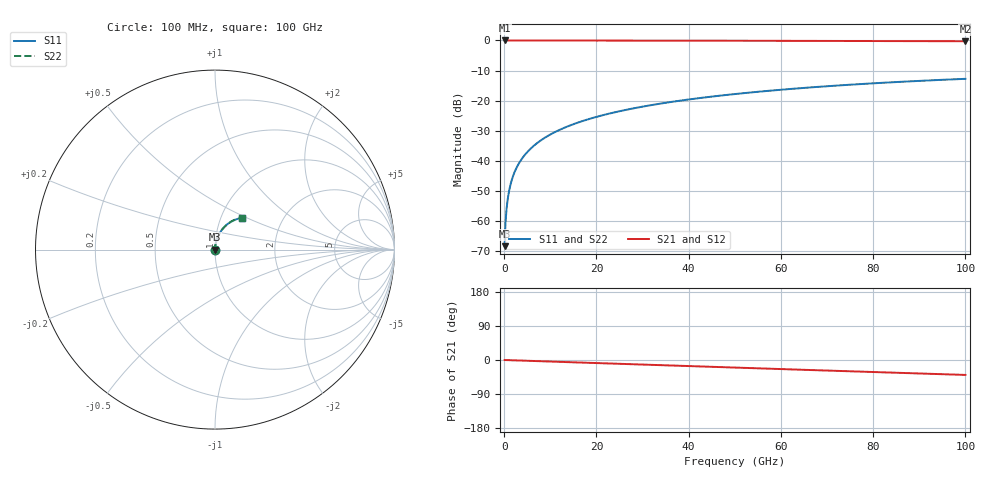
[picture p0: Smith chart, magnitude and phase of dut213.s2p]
! Touchstone file exported from HFSS 2026.1.0
!  File:  C:/ffzhzh/LocalFiles/Ansys_Project_Files/temp_train_TSV_213_1783507674_55944.aedt
!  Generated:  06:49:09 PM Jul  8, 2026
!  Design:  TSV
!  Project:  temp_train_TSV_213_1783507674_55944
! Variables:
!  h_bsmrdl = 2um
!  h_ox = 20um
!  h_rdl = 5um
!  h_sub = 71.6um
!  h_tmrdl = 5um
!  h_tsv = 71.6um
!  h_via = 3um
!  l_bsmrdl = 300um
!  l_sub = 413.3um
!  l_tmrdl = 200um
!  m_sub = 200um
!  pitch = 46.04um
!  r_tsv = 6.65um
!  s_tmrdl = 10um
!  w_bsmrdl = 18um
!  w_sub = 500um
!  w_tmrdl = 12um
!  x_tsv_center1 = 206um
!  x_tsv_center2 = 524um
!  x_tsv_center3 = 736um
!  x_tsv_center4 = 1054um
!  x_tsv_center5 = 1266um
!  x_tsv_center6 = 1584um
# GHz S MA R 50.000000
! Terminal data exported
! Port[1] = TSV1_1_T1
! Port[2] = TSV1_1_T2
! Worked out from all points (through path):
!   1000 points, 100 MHz to 100 GHz, reference 50 ohm
!   highest |S21| = 0.00 dB at 100 MHz (marker M1); lowest = -0.3 dB at 100 GHz (marker M2)
!   group delay of S21, straight-line fit = 1.09 ps
!   lowest |S11| = -68.4 dB at 100 MHz (marker M3), VSWR 1.00, Z = 50 + j0.0309 ohm
!   |S11| at or under -10 dB: start of sweep to end of sweep
!   |S22| runs from -68.4 to -12.8 dB; largest |S21 - S12| = 2.6e-15
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0.1  0.0003788 54.5  0.9998 -0.0  0.9998 -0.0  0.0003788 54.5
! Gamma 0 0 0 0
! Port Impedance 50 0 50 0
0.4  0.001222 77.5  0.9997 -0.2  0.9997 -0.2  0.001222 77.5
0.7  0.002079 81.6  0.9997 -0.3  0.9997 -0.3  0.002079 81.6
0.8  0.002364 82.3  0.9997 -0.3  0.9997 -0.3  0.002364 82.3
1  0.002934 83.2  0.9997 -0.4  0.9997 -0.4  0.002934 83.2
1.3  0.003785 83.9  0.9996 -0.5  0.9996 -0.5  0.003785 83.9
1.7  0.004909 84.4  0.9996 -0.7  0.9996 -0.7  0.004909 84.4
2.3  0.006572 84.7  0.9995 -1.0  0.9995 -1.0  0.006572 84.7
3  0.008485 84.8  0.9994 -1.2  0.9994 -1.2  0.008485 84.8
3.8  0.01065 84.8  0.9993 -1.6  0.9993 -1.6  0.01065 84.8
4.8  0.01334 84.8  0.9992 -2.0  0.9992 -2.0  0.01334 84.8
6  0.01656 84.6  0.999 -2.5  0.999 -2.5  0.01656 84.6
8.8  0.02404 84.0  0.9987 -3.6  0.9987 -3.6  0.02404 84.0
12.4  0.03359 82.9  0.9982 -5.0  0.9982 -5.0  0.03359 82.9
16.8  0.04517 81.4  0.9976 -6.8  0.9976 -6.8  0.04517 81.4
24.2  0.06442 78.7  0.9962 -9.8  0.9962 -9.8  0.06442 78.7
33.4  0.08786 75.3  0.9941 -13.4  0.9941 -13.4  0.08786 75.3
41.2  0.1072 72.3  0.992 -16.5  0.992 -16.5  0.1072 72.3
50.1  0.1286 68.9  0.9893 -20.1  0.9893 -20.1  0.1286 68.9
66.7  0.1662 62.5  0.9833 -26.6  0.9833 -26.6  0.1662 62.5
83.4  0.2003 56.1  0.9767 -33.0  0.9767 -33.0  0.2003 56.1
100  0.2299 49.9  0.9699 -39.4  0.9699 -39.4  0.2299 49.9
